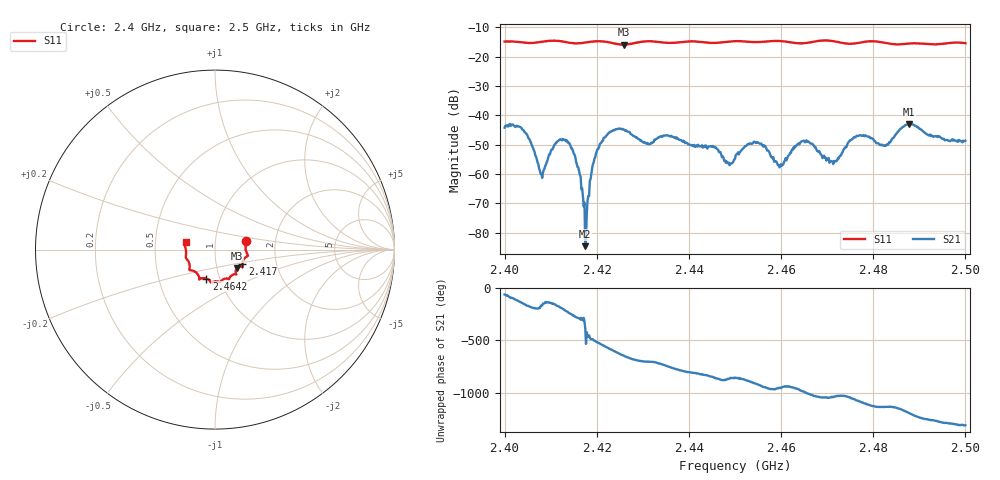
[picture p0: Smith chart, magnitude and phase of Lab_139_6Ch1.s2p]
# Hz S RI R 50
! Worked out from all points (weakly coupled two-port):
!   601 points, 2.4 GHz to 2.5 GHz, reference 50 ohm
!   highest |S21| = -42.94 dB at 2.4878 GHz (marker M1); lowest = -84.6 dB at 2.4175 GHz (marker M2)
!   lowest |S11| = -15.9 dB at 2.4258 GHz (marker M3), VSWR 1.38, Z = 62.3 - j13.2 ohm
!   |S11| at or under -10 dB: start of sweep to end of sweep
!   S12 and S22 are empty: the file has one direction only
!   S11 on the Smith chart (normalised r, x): 2.4 GHz: 1.41, +0.14; 2.417 GHz: 1.34, -0.22; 2.4642 GHz: 0.86, -0.29; 2.5 GHz: 0.72, +0.06
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2.4e9  0.1733 0.0494  0.00311 -0.0053  0 0  0 0
2.4045e9  0.1709 0.0195  -0.00462 -0.00203  0 0  0 0
2.408e9  0.1778 -0.0206  -0.000937 -0.000296  0 0  0 0
2.411167e9  0.1831 -0.035  -0.00319 -0.00097  0 0  0 0
2.4135e9  0.17 -0.0435  -0.00279 0.00246  0 0  0 0
2.415167e9  0.1582 -0.0574  -3.47e-05 0.00213  0 0  0 0
2.416667e9  0.1528 -0.0743  0.000126 0.000529  0 0  0 0
2.417e9  0.1523 -0.0781  0.00025 0.000326  0 0  0 0
2.4175e9  0.1521 -0.0835  5.33e-05 -2.45e-05  0 0  0 0
2.420333e9  0.1546 -0.0974  -0.00255 -0.000815  0 0  0 0
2.425833e9  0.1219 -0.1035  0.00152 0.00549  0 0  0 0
2.433333e9  0.113 -0.137  0.00418 0.000147  0 0  0 0
2.45e9  0.0294 -0.181  -0.0013 -0.00125  0 0  0 0
2.454667e9  0.00469 -0.1765  -0.00325 0.000992  0 0  0 0
2.46e9  -0.0235 -0.1824  -0.00082 0.00122  0 0  0 0
2.464167e9  -0.0477 -0.1614  -0.000672 0.00335  0 0  0 0
2.466667e9  -0.0758 -0.1596  0.00176 0.00276  0 0  0 0
2.471e9  -0.0872 -0.1631  0.00127 0.00106  0 0  0 0
2.476667e9  -0.1233 -0.1175  0.00442 0.000122  0 0  0 0
2.483333e9  -0.1407 -0.0899  0.00186 -0.0027  0 0  0 0
2.487833e9  -0.1588 -0.0518  -0.00336 -0.00628  0 0  0 0
2.5e9  -0.1638 0.0425  -0.00221 0.00295  0 0  0 0
